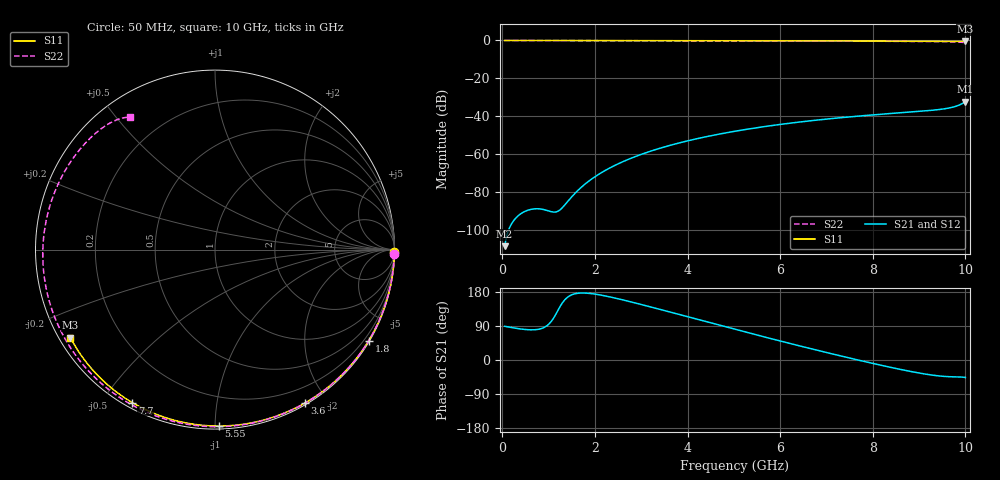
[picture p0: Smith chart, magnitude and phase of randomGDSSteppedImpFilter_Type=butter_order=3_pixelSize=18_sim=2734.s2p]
! freq	dB(S11)	phase(S11)	dB(S12)	phase(S12)
!  dB(S21)	phase(S21)	dB(S22)	phase(S22)
!S-par simulation data
#  GHz  S  DB  R 50
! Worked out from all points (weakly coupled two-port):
!   200 points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, 50 MHz to 10 GHz, reference 50 ohm
!   highest |S21| = -32.28 dB at 10 GHz (marker M1); lowest = -108.5 dB at 50 MHz (marker M2)
!   lowest |S11| = -0.5 dB at 10 GHz (marker M3), VSWR 34.05, Z = 1.58 - j14 ohm
!   |S11| at or under -10 dB: nowhere
!   |S22| runs from -1.1 to 0.0 dB; largest |S21 - S12| = 0
!   S11 on the Smith chart (normalised r, x): 50 MHz: open; 1.8 GHz: 0.03, -3.66; 3.6 GHz: 0.02, -1.74; 5.55 GHz: 0.02, -1.02; 7.7 GHz: 0.02, -0.60; 10 GHz: 0.03, -0.28
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0.05  -0.00 -0.9  -108.54 89.0  -108.54 89.0  -0.00 -1.5
0.4  -0.01 -6.9  -91.42 81.8  -91.42 81.8  -0.02 -11.5
0.8  -0.02 -13.7  -88.86 81.5  -88.86 81.5  -0.03 -22.8
1.6  -0.03 -27.3  -79.90 175.5  -79.90 175.5  -0.06 -45.0
1.75  -0.04 -29.8  -76.52 176.8  -76.52 176.8  -0.06 -49.1
1.8  -0.04 -30.6  -75.50 176.6  -75.50 176.6  -0.06 -50.4
2.1  -0.05 -35.6  -70.35 171.9  -70.35 171.9  -0.07 -58.3
2.45  -0.05 -41.3  -65.69 163.0  -65.69 163.0  -0.09 -67.4
2.9  -0.06 -48.6  -61.01 149.6  -61.01 149.6  -0.10 -78.7
3.4  -0.08 -56.5  -56.91 133.7  -56.91 133.7  -0.12 -90.8
3.6  -0.08 -59.6  -55.50 127.2  -55.50 127.2  -0.12 -95.6
4.3  -0.10 -70.4  -51.31 104.5  -51.31 104.5  -0.15 -111.6
5.05  -0.13 -81.5  -47.79 80.2  -47.79 80.2  -0.19 -127.9
5.55  -0.15 -88.8  -45.84 64.3  -45.84 64.3  -0.21 -138.5
6.15  -0.17 -97.3  -43.84 45.5  -43.84 45.5  -0.25 -151.0
6.7  -0.20 -104.9  -42.26 28.8  -42.26 28.8  -0.29 -162.3
7.7  -0.27 -118.4  -39.89 -0.6  -39.89 -0.6  -0.37 177.1
8.35  -0.33 -127.0  -38.61 -18.5  -38.61 -18.5  -0.44 163.3
9  -0.39 -135.6  -37.43 -34.4  -37.43 -34.4  -0.52 148.8
9.55  -0.45 -142.8  -36.06 -43.4  -36.06 -43.4  -0.64 135.6
9.8  -0.48 -146.1  -34.68 -44.6  -34.68 -44.6  -0.79 128.8
10  -0.51 -148.7  -32.28 -46.2  -32.28 -46.2  -1.14 122.7
